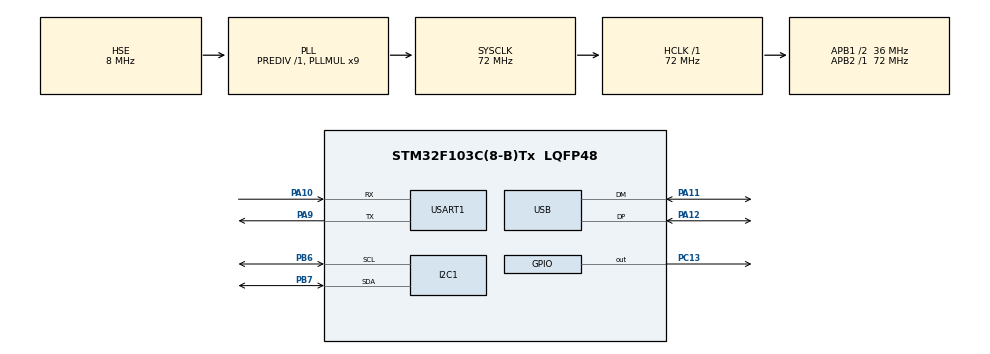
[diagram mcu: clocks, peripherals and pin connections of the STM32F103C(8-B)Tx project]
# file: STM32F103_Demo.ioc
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Mcu.Family=STM32F1
Mcu.Name=STM32F103C(8-B)Tx
Mcu.Package=LQFP48
NVIC.PriorityGroup=NVIC_PRIORITYGROUP_4
NVIC.USB_HP_CAN1_TX_IRQn=true\:0\:0\:false\:false\:true\:true\:true\:true
NVIC.USB_LP_CAN1_RX0_IRQn=true\:0\:0\:false\:false\:true\:true\:true\:true
PA10.Mode=Asynchronous
PA10.Signal=USART1_RX
PA11.Mode=Device
PA11.Signal=USB_DM
PA12.Mode=Device
PA12.Signal=USB_DP
PA13.Mode=Serial_Wire
PA13.Signal=SYS_JTMS-SWDIO
PA14.Mode=Serial_Wire
PA14.Signal=SYS_JTCK-SWCLK
PA9.Mode=Asynchronous
PA9.Signal=USART1_TX
PB6.Mode=I2C
PB6.Signal=I2C1_SCL
PB7.Mode=I2C
PB7.Signal=I2C1_SDA
PC13-TAMPER-RTC.Signal=GPIO_Output
PD0-OSC_IN.Mode=HSE-External-Oscillator
PD0-OSC_IN.Signal=RCC_OSC_IN
PD1-OSC_OUT.Mode=HSE-External-Oscillator
PD1-OSC_OUT.Signal=RCC_OSC_OUT
ProjectManager.HeapSize=0x200
ProjectManager.StackSize=0x400
ProjectManager.TargetToolchain=STM32CubeIDE
RCC.AHBFreq_Value=72000000
RCC.APB1CLKDivider=RCC_HCLK_DIV2
RCC.APB1Freq_Value=36000000
RCC.APB1TimFreq_Value=72000000
RCC.APB2Freq_Value=72000000
RCC.APB2TimFreq_Value=72000000
RCC.HCLKFreq_Value=72000000
RCC.PLLMUL=RCC_PLL_MUL9
RCC.SYSCLKFreq_VALUE=72000000
RCC.SYSCLKSource=RCC_SYSCLKSOURCE_PLLCLK
RCC.USBFreq_Value=48000000
RCC.USBPrescaler=RCC_USBCLKSOURCE_PLL_DIV1_5
USART1.VirtualMode=VM_ASYNC
board=custom

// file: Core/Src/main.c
/* USER CODE BEGIN Header */
/**
  ******************************************************************************
  * @file           : main.c
  * @brief          : Main program body
  ******************************************************************************
  * @attention
  *
  * Copyright (c) 2023 STMicroelectronics.
  * All rights reserved.
  *
  * This software is licensed under terms that can be found in the LICENSE file
  * in the root directory of this software component.
  * If no LICENSE file comes with this software, it is provided AS-IS.
  *
  ******************************************************************************
  */
/* USER CODE END Header */
#include "main.h"
#include "i2c.h"
#include "usart.h"
#include "gpio.h"
#include "usb.h"
/* USER CODE BEGIN Includes */
#include "stdio.h"
#include "tusb.h"
#include "usb_descriptors.h"
#include "mpu6050.h"
/* USER CODE END Includes */

/* USER CODE BEGIN PTD */
enum
{
  BLINK_NOT_MOUNTED = 250,
  BLINK_MOUNTED = 1000,
  BLINK_SUSPENDED = 2500,

  BLINK_ALWAYS_ON = UINT32_MAX,
  BLINK_ALWAYS_OFF = 0
};

static uint32_t blink_interval_ms = BLINK_NOT_MOUNTED;

#define URL "example.tinyusb.org/webusb-serial/index.html"

const tusb_desc_webusb_url_t desc_url =
    {
        .bLength = 3 + sizeof(URL) - 1,
        .bDescriptorType = 3, // WEBUSB URL type
        .bScheme = 1,         // 0: http, 1: https
        .url = URL};

static bool web_serial_connected = false;

//------------- prototypes -------------//
void led_blinking_task(void);
void board_led_write(bool state);

/* USER CODE END PTD */

/* USER CODE BEGIN PV */
MPU6050_t MPU6050;
/* USER CODE END PV */

void SystemClock_Config(void);

int main(void)
{

  /* MCU Configuration--------------------------------------------------------*/

  /* Reset of all peripherals, Initializes the Flash interface and the Systick. */
  HAL_Init();

  /* Configure the system clock */
  SystemClock_Config();

  /* Initialize all configured peripherals */
  MX_GPIO_Init();
  MX_I2C1_Init();
  MX_USART1_UART_Init();
  MX_USB_PCD_Init();
  /* USER CODE BEGIN 2 */
  tud_init(BOARD_TUD_RHPORT);
  while (MPU6050_Init(&hi2c1) == 1)
    ;
  /* USER CODE END 2 */

  /* Infinite loop */
  while (1)
  {

    /* USER CODE BEGIN 3 */
    MPU6050_Read_All(&hi2c1, &MPU6050);
    led_blinking_task();
    printf("Ax: %f ", MPU6050.Ax);
    printf("Ay: %f ", MPU6050.Ay);
    printf("Az: %f ", MPU6050.Az);
    printf("Gx: %f ", MPU6050.Gx);
    printf("Gy: %f ", MPU6050.Gy);
    printf("Gz: %f ", MPU6050.Gz);
    printf("\r\n");
  }
  /* USER CODE END 3 */
}

void SystemClock_Config(void)
{
  RCC_OscInitTypeDef RCC_OscInitStruct = {0};
  RCC_ClkInitTypeDef RCC_ClkInitStruct = {0};
  RCC_PeriphCLKInitTypeDef PeriphClkInit = {0};

  /** Initializes the RCC Oscillators according to the specified parameters
  * in the RCC_OscInitTypeDef structure.
  */
  RCC_OscInitStruct.OscillatorType = RCC_OSCILLATORTYPE_HSE;
  RCC_OscInitStruct.HSEState = RCC_HSE_ON;
  RCC_OscInitStruct.HSEPredivValue = RCC_HSE_PREDIV_DIV1;
  RCC_OscInitStruct.HSIState = RCC_HSI_ON;
  RCC_OscInitStruct.PLL.PLLState = RCC_PLL_ON;
  RCC_OscInitStruct.PLL.PLLSource = RCC_PLLSOURCE_HSE;
  RCC_OscInitStruct.PLL.PLLMUL = RCC_PLL_MUL9;
  if (HAL_RCC_OscConfig(&RCC_OscInitStruct) != HAL_OK)
  {
    Error_Handler();
  }

  /** Initializes the CPU, AHB and APB buses clocks
  */
  RCC_ClkInitStruct.ClockType = RCC_CLOCKTYPE_HCLK|RCC_CLOCKTYPE_SYSCLK
                              |RCC_CLOCKTYPE_PCLK1|RCC_CLOCKTYPE_PCLK2;
  RCC_ClkInitStruct.SYSCLKSource = RCC_SYSCLKSOURCE_PLLCLK;
  RCC_ClkInitStruct.AHBCLKDivider = RCC_SYSCLK_DIV1;
  RCC_ClkInitStruct.APB1CLKDivider = RCC_HCLK_DIV2;
  RCC_ClkInitStruct.APB2CLKDivider = RCC_HCLK_DIV1;

  if (HAL_RCC_ClockConfig(&RCC_ClkInitStruct, FLASH_LATENCY_2) != HAL_OK)
  {
    Error_Handler();
  }
  PeriphClkInit.PeriphClockSelection = RCC_PERIPHCLK_USB;
  PeriphClkInit.UsbClockSelection = RCC_USBCLKSOURCE_PLL_DIV1_5;
  if (HAL_RCCEx_PeriphCLKConfig(&PeriphClkInit) != HAL_OK)
  {
    Error_Handler();
  }
}

void Error_Handler(void)
{
  __disable_irq();
  while (1)
  {
  }
}

//--------------------------------------------------------------------+
// Device callbacks
//--------------------------------------------------------------------+

// Invoked when device is mounted
void tud_mount_cb(void)
{
  blink_interval_ms = BLINK_MOUNTED;
}

// Invoked when device is unmounted
void tud_umount_cb(void)
{
  blink_interval_ms = BLINK_NOT_MOUNTED;
}

// Invoked when usb bus is suspended
// remote_wakeup_en : if host allow us  to perform remote wakeup
// Within 7ms, device must draw an average of current less than 2.5 mA from bus
void tud_suspend_cb(bool remote_wakeup_en)
{
  (void)remote_wakeup_en;
  blink_interval_ms = BLINK_SUSPENDED;
}

// Invoked when usb bus is resumed
void tud_resume_cb(void)
{
  blink_interval_ms = BLINK_MOUNTED;
}

//--------------------------------------------------------------------+
// WebUSB use vendor class
//--------------------------------------------------------------------+

// Invoked when a control transfer occurred on an interface of this class
// Driver response accordingly to the request and the transfer stage (setup/data/ack)
// return false to stall control endpoint (e.g unsupported request)
bool tud_vendor_control_xfer_cb(uint8_t rhport, uint8_t stage, tusb_control_request_t const *request)
{
  // nothing to with DATA & ACK stage
  if (stage != CONTROL_STAGE_SETUP)
    return true;

  switch (request->bmRequestType_bit.type)
  {
  case TUSB_REQ_TYPE_VENDOR:
    switch (request->bRequest)
    {
    case VENDOR_REQUEST_WEBUSB:
      // match vendor request in BOS descriptor
      // Get landing page url
      return tud_control_xfer(rhport, request, (void *)(uintptr_t)&desc_url, desc_url.bLength);

    case VENDOR_REQUEST_MICROSOFT:
      if (request->wIndex == 7)
      {
        // Get Microsoft OS 2.0 compatible descriptor
        uint16_t total_len;
        memcpy(&total_len, desc_ms_os_20 + 8, 2);

        return tud_control_xfer(rhport, request, (void *)(uintptr_t)desc_ms_os_20, total_len);
      }
      else
      {
        return false;
      }

    default:
      break;
    }
    break;

  case TUSB_REQ_TYPE_CLASS:
    if (request->bRequest == 0x22)
    {
      // Webserial simulate the CDC_REQUEST_SET_CONTROL_LINE_STATE (0x22) to connect and disconnect.
      web_serial_connected = (request->wValue != 0);

      // Always lit LED if connected
      if (web_serial_connected)
      {
        board_led_write(true);
        blink_interval_ms = BLINK_ALWAYS_ON;

        tud_vendor_write_str("\r\nWebUSB interface connected\r\n");
        tud_vendor_flush();
      }
      else
      {
        blink_interval_ms = BLINK_MOUNTED;
      }

      // response with status OK
      return tud_control_status(rhport, request);
    }
    break;

  default:
    break;
  }

  // stall unknown request
  return false;
}

// Invoked when cdc when line state changed e.g connected/disconnected
void tud_cdc_line_state_cb(uint8_t itf, bool dtr, bool rts)
{
  (void)itf;

  // connected
  if (dtr && rts)
  {
    // print initial message when connected
    tud_cdc_write_str("\r\nTinyUSB WebUSB device example\r\n");
  }
}

// Invoked when CDC interface received data from host
void tud_cdc_rx_cb(uint8_t itf)
{
  (void)itf;
}

//--------------------------------------------------------------------+
// BLINKING TASK
//--------------------------------------------------------------------+
void led_blinking_task(void)
{
  static uint32_t start_ms = 0;
  static bool led_state = false;

  // Blink every interval ms
  if (HAL_GetTick()-start_ms < blink_interval_ms)
    return; // not enough time
  start_ms += blink_interval_ms;

  board_led_write(led_state);
  led_state = 1 - led_state; // toggle
}

void board_led_write(bool state)
{
  if (state)
  {
    HAL_GPIO_WritePin(GPIOC, GPIO_PIN_13, GPIO_PIN_SET);
  }
  else
  {
    HAL_GPIO_WritePin(GPIOC, GPIO_PIN_13, GPIO_PIN_RESET);
  }
}
